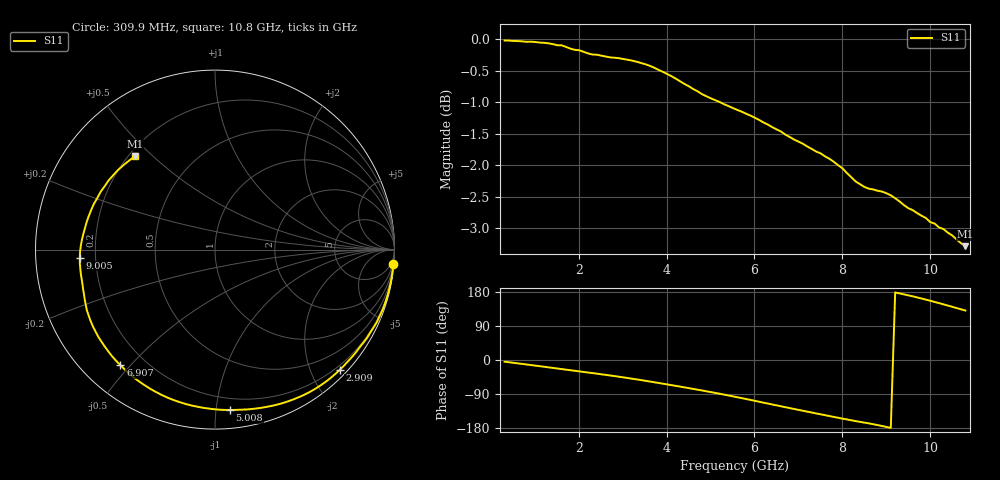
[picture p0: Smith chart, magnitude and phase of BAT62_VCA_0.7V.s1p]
! Infineon Technologies  Discrete & RF Semiconductors
! BAT62
! VCA = 0.7 V
! One-Port S-Parameters
# Hz  S  MA  R  50
!f  S11
!Hz  Mag  Ang
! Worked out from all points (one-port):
!   106 points, 309.9 MHz to 10.8 GHz, reference 50 ohm
!   lowest |S11| = -3.3 dB at 10.8 GHz (marker M1), VSWR 5.35, Z = 11.2 + j22.1 ohm
!   |S11| at or under -10 dB: nowhere
!   S11 on the Smith chart (normalised r, x): 309.9 MHz: 1, -25; 2.909 GHz: 0.12, -2.47; 5.008 GHz: 0.12, -1.09; 6.907 GHz: 0.11, -0.47; 9.005 GHz: 0.14, -0.03; 10.8 GHz: 0.22, +0.44
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3.0985e8  0.9974 -4.5
1.0095e9  0.9946 -14.9
1.70915e9  0.9856 -25.5
2.4088e9  0.9718 -36.0
2.90855e9  0.9657 -44.0
3.0085e9  0.9642 -45.7
3.4083e9  0.9574 -52.8
3.70815e9  0.9494 -58.5
4.30785e9  0.9257 -70.3
4.70765e9  0.9089 -78.4
5.0075e9  0.8974 -84.7
5.30735e9  0.8878 -91.3
5.6072e9  0.8787 -98.2
5.90705e9  0.8696 -105.2
6.30685e9  0.8553 -115.0
6.6067e9  0.8445 -122.2
6.90655e9  0.8322 -129.3
7.2064e9  0.8217 -136.3
7.6062e9  0.8072 -145.5
8.006e9  0.7897 -154.7
8.2059e9  0.777 -159.1
8.70565e9  0.7598 -169.5
9.0055e9  0.7546 -176.6
9.50525e9  0.7343 170.6
9.8051e9  0.7243 162.3
1.010495e10  0.7139 153.2
1.050475e10  0.6986 140.4
1.08046e10  0.6851 130.5
